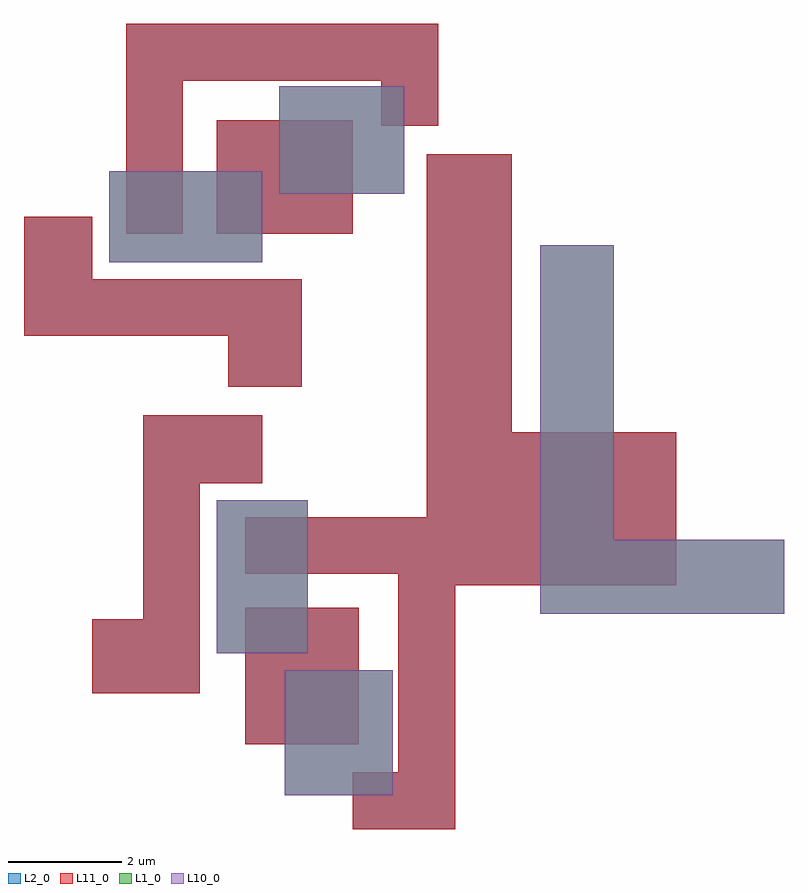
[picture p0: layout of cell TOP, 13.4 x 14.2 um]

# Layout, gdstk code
from math import pi, radians
import gdstk
lib = gdstk.Library(unit=1e-6, precision=1e-09)
def R(c, l, rs):  # rectangles x0, y0, x1, y1
    for r in rs: c.add(gdstk.rectangle(r[:2], r[2:], *l))
def P(c, l, *ps):  # polygons
    for p in ps: c.add(gdstk.Polygon(p, *l))
L1_0 = (1, 0)
L2_0 = (2, 0)
L10_0 = (10, 0)
L11_0 = (11, 0)

c_a = lib.new_cell('A')
R(c_a, L1_0, [(0.4,0.8,2.6,2.7), (2.9,2.3,5.6,3.9)])
R(c_a, L2_0, [(1.3,1.4,3.7,3.4), (5.9,3.1,7.1,5.2)])
P(c_a, L2_0, [(2.2,4.2),(2.2,6.1),(3.5,6.1),(3.5,5.2),(5.9,5.2),(5.9,4.2)],
  [(-0.2,-0.3),(-0.2,1.5),(0.8,1.5),(0.8,0.7),(4.3,0.7),(4.3,3.4),(5.3,3.4),(5.3,-0.3)])

top = lib.new_cell('TOP')
P(top, L1_0, [(8.4,4.1),(8.4,10.6),(9.7,10.6),(9.7,5.4),(12.7,5.4),(12.7,4.1)])
R(top, L2_0, [(6.6,4.6,10.8,5.8)])
P(top, L2_0, [(6.4,5.8),(6.4,12.2),(7.9,12.2),(7.9,7.3),(10.8,7.3),(10.8,5.8)])
R(top, L10_0, [(3.9,0.9,5.8,3.1), (2.7,3.4,4.3,6.1), (0.8,10.3,3.5,11.9), (3.8,11.5,6,13.4)])
P(top, L10_0, [(8.4,4.1),(8.4,10.6),(9.7,10.6),(9.7,5.4),(12.7,5.4),(12.7,4.1)])
R(top, L11_0, [(3.2,1.8,5.2,4.2), (6.6,4.6,10.8,5.8), (1.4,6.4,3.5,7.6), (-0.7,9,0.5,11.1), (2.7,10.8,5.1,12.8)])
P(top, L11_0, [(6.4,5.8),(6.4,12.2),(7.9,12.2),(7.9,7.3),(10.8,7.3),(10.8,5.8)],
  [(0.5,2.7),(0.5,4),(1.4,4),(1.4,6.4),(2.4,6.4),(2.4,2.7)],
  [(5.1,0.3),(5.1,1.3),(5.9,1.3),(5.9,4.8),(3.2,4.8),(3.2,5.8),(6.9,5.8),(6.9,0.3)],
  [(2.9,8.1),(2.9,9),(0.5,9),(0.5,10),(4.2,10),(4.2,8.1)],
  [(1.1,10.8),(1.1,14.5),(6.6,14.5),(6.6,12.7),(5.6,12.7),(5.6,13.5),(2.1,13.5),(2.1,10.8)])
top.add(gdstk.Reference(c_a, (6.6,0.5), rotation=pi/2))
top.add(gdstk.Reference(c_a, (6.4,14.2), rotation=pi))

lib.write_gds('TOP.gds')
